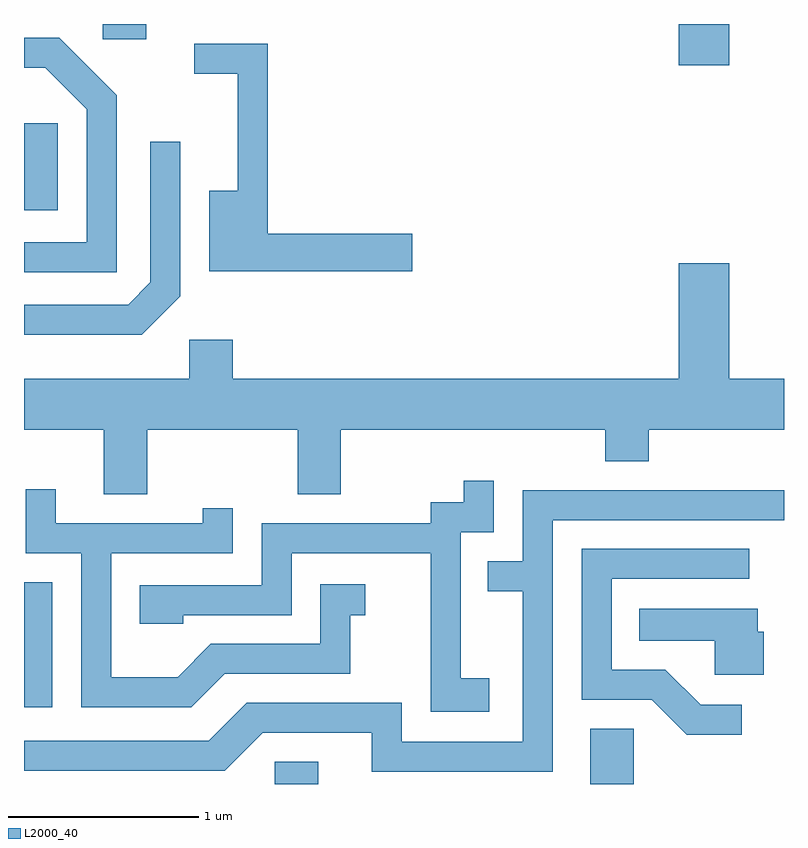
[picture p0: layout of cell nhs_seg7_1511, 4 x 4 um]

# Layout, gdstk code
import gdstk
lib = gdstk.Library(unit=1e-6, precision=1e-09)
def R(c, l, rs):  # rectangles x0, y0, x1, y1
    for r in rs: c.add(gdstk.rectangle(r[:2], r[2:], *l))
def P(c, l, *ps):  # polygons
    for p in ps: c.add(gdstk.Polygon(p, *l))
L2000_40 = (2000, 40)

nhs_seg7_1511 = lib.new_cell('nhs_seg7_1511')
R(nhs_seg7_1511, L2000_40, [(232.931,1690.252,233.159,1690.369), (234.591,1690.252,234.819,1690.544), (231.611,1690.656,231.759,1691.314), (231.611,1693.271,231.789,1693.729), (235.056,1694.036,235.324,1694.252), (232.026,1694.171,232.254,1694.252)])
P(nhs_seg7_1511, L2000_40, [(232.099,1693.877),(231.797,1694.179),(231.611,1694.179),(231.611,1694.021),(231.724,1694.021),(231.941,1693.804),(231.941,1693.104),(231.611,1693.104),(231.611,1692.946),(232.099,1692.946)],
  [(233.654,1693.149),(232.894,1693.149),(232.894,1694.149),(232.508,1694.149),(232.508,1693.991),(232.736,1693.991),(232.736,1693.374),(232.586,1693.374),(232.586,1692.951),(233.654,1692.951)],
  [(232.434,1692.819),(232.434,1693.633),(232.276,1693.633),(232.276,1692.892),(232.159,1692.774),(231.611,1692.774),(231.611,1692.616),(232.232,1692.616)],
  [(232.259,1692.116),(233.051,1692.116),(233.051,1691.776),(233.279,1691.776),(233.279,1692.116),(234.671,1692.116),(234.671,1691.951),(234.899,1691.951),(234.899,1692.116),(235.611,1692.116),(235.611,1692.384),(235.324,1692.384),(235.324,1692.994),(235.056,1692.994),(235.056,1692.384),(232.709,1692.384),(232.709,1692.589),(232.481,1692.589),(232.481,1692.384),(231.611,1692.384),(231.611,1692.116),(232.031,1692.116),(232.031,1691.776),(232.259,1691.776)],
  [(234.059,1690.809),(233.909,1690.809),(233.909,1691.576),(234.084,1691.576),(234.084,1691.848),(233.926,1691.848),(233.926,1691.734),(233.751,1691.734),(233.751,1691.624),(232.861,1691.624),(232.861,1691.299),(232.221,1691.299),(232.221,1691.096),(232.449,1691.096),(232.449,1691.141),(233.019,1691.141),(233.019,1691.466),(233.751,1691.466),(233.751,1690.631),(234.059,1690.631)],
  [(232.667,1690.831),(233.329,1690.831),(233.329,1691.141),(233.408,1691.141),(233.408,1691.304),(233.171,1691.304),(233.171,1690.989),(232.594,1690.989),(232.419,1690.814),(232.069,1690.814),(232.069,1691.466),(232.709,1691.466),(232.709,1691.703),(232.551,1691.703),(232.551,1691.624),(231.779,1691.624),(231.779,1691.803),(231.621,1691.803),(231.621,1691.466),(231.911,1691.466),(231.911,1690.656),(232.492,1690.656)],
  [(234.394,1691.641),(235.611,1691.641),(235.611,1691.799),(234.236,1691.799),(234.236,1691.424),(234.053,1691.424),(234.053,1691.266),(234.236,1691.266),(234.236,1690.474),(233.599,1690.474),(233.599,1690.679),(232.784,1690.679),(232.584,1690.479),(231.611,1690.479),(231.611,1690.321),(232.667,1690.321),(232.867,1690.521),(233.441,1690.521),(233.441,1690.316),(234.394,1690.316)],
  [(235.388,1690.669),(235.172,1690.669),(234.987,1690.854),(234.704,1690.854),(234.704,1691.331),(235.428,1691.331),(235.428,1691.489),(234.546,1691.489),(234.546,1690.696),(234.914,1690.696),(235.099,1690.511),(235.388,1690.511)],
  [(235.504,1691.054),(235.474,1691.054),(235.474,1691.174),(234.848,1691.174),(234.848,1691.006),(235.246,1691.006),(235.246,1690.826),(235.504,1690.826)])

lib.write_gds('nhs_seg7_1511.gds')
